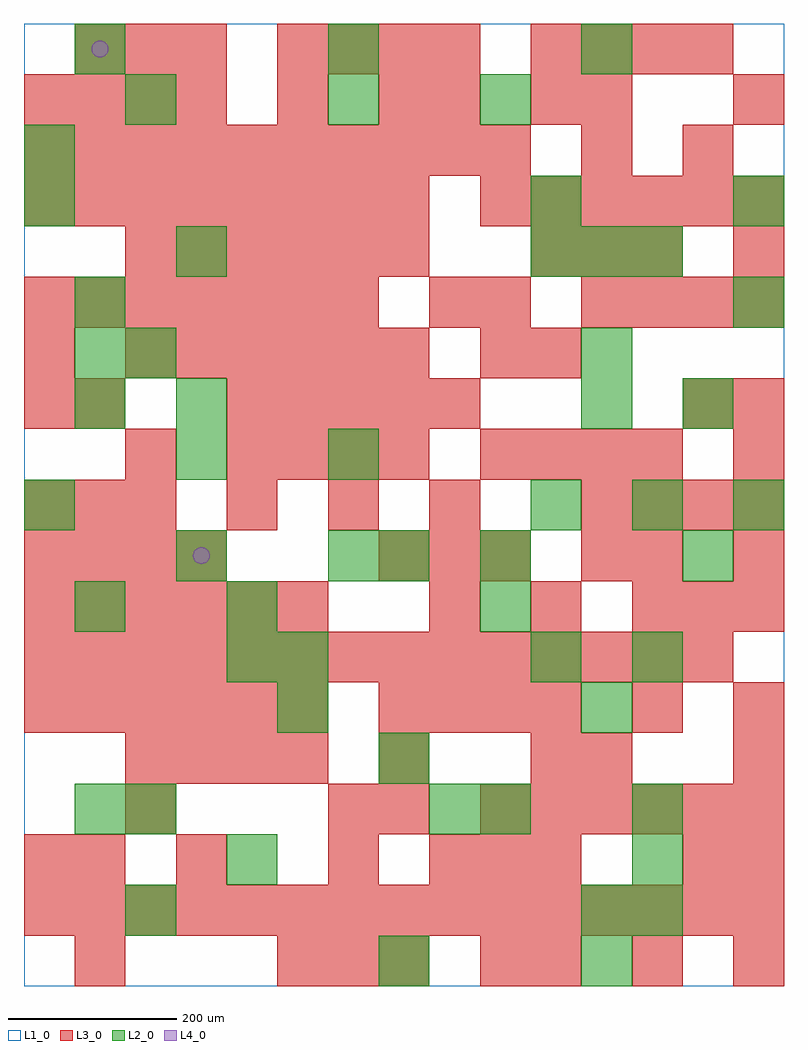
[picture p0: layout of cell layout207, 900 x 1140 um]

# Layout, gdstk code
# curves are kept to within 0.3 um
import gdstk
lib = gdstk.Library(unit=1e-6, precision=1e-09)
def R(c, l, rs):  # rectangles x0, y0, x1, y1
    for r in rs: c.add(gdstk.rectangle(r[:2], r[2:], *l))
def A(c, l, x, y, w, h, nx, ny, dx, dy):  # array of equal rectangles
    R(c, l, [(x+i*dx, y+j*dy, x+i*dx+w, y+j*dy+h) for i in range(nx) for j in range(ny)])
def P(c, l, *ps):  # polygons
    for p in ps: c.add(gdstk.Polygon(p, *l))
L1_0 = (1, 0)
L2_0 = (2, 0)
L3_0 = (3, 0)
L4_0 = (4, 0)

layout207 = lib.new_cell('layout207')
R(layout207, L1_0, [(0,0,900,1140)])
A(layout207, L2_0, 420, 0, 60, 60, 1, 3, 0, 240)
A(layout207, L2_0, 720, 60, 60, 60, 1, 3, 0, 60)
A(layout207, L2_0, 60, 180, 60, 60, 1, 3, 0, 240)
A(layout207, L2_0, 600, 540, 60, 60, 3, 1, 120, 0)
A(layout207, L2_0, 600, 840, 60, 60, 3, 1, 60, 0)
A(layout207, L2_0, 60, 1080, 60, 60, 3, 1, 300, 0)
R(layout207, L2_0, [(660,0,720,60), (120,60,180,120), (660,60,720,120), (240,120,300,180), (120,180,180,240), (480,180,540,240), (540,180,600,240), (300,300,360,360), (660,300,720,360), (240,360,300,420), (300,360,360,420), (600,360,660,420), (720,360,780,420), (240,420,300,480), (540,420,600,480), (180,480,240,540), (360,480,420,540), (540,480,600,540), (780,480,840,540), (0,540,60,600), (180,600,240,660), (360,600,420,660), (180,660,240,720), (660,660,720,720), (780,660,840,720), (60,720,120,780), (120,720,180,780), (660,720,720,780), (60,780,120,840), (840,780,900,840), (180,840,240,900), (0,900,60,960), (600,900,660,960), (840,900,900,960), (0,960,60,1020), (120,1020,180,1080), (360,1020,420,1080), (540,1020,600,1080)])
A(layout207, L3_0, 300, 0, 60, 60, 3, 1, 60, 0)
A(layout207, L3_0, 600, 0, 60, 60, 3, 1, 120, 0)
A(layout207, L3_0, 0, 60, 60, 60, 15, 1, 60, 0)
A(layout207, L3_0, 480, 120, 60, 60, 3, 1, 60, 0)
A(layout207, L3_0, 540, 180, 60, 60, 6, 2, 60, 720)
A(layout207, L3_0, 120, 240, 60, 60, 4, 1, 60, 0)
A(layout207, L3_0, 0, 300, 60, 60, 6, 2, 60, 120)
A(layout207, L3_0, 420, 300, 60, 60, 4, 1, 60, 0)
A(layout207, L3_0, 0, 360, 60, 60, 14, 1, 60, 0)
A(layout207, L3_0, 480, 420, 60, 60, 3, 1, 120, 0)
A(layout207, L3_0, 0, 480, 60, 60, 4, 2, 60, 540)
A(layout207, L3_0, 420, 480, 60, 60, 3, 1, 60, 0)
A(layout207, L3_0, 0, 540, 60, 60, 3, 1, 60, 0)
A(layout207, L3_0, 240, 540, 60, 60, 3, 1, 120, 0)
A(layout207, L3_0, 660, 540, 60, 60, 4, 2, 60, 240)
A(layout207, L3_0, 240, 600, 60, 60, 4, 1, 60, 0)
A(layout207, L3_0, 540, 600, 60, 60, 4, 1, 60, 0)
A(layout207, L3_0, 240, 660, 60, 60, 5, 1, 60, 0)
A(layout207, L3_0, 840, 660, 60, 60, 1, 3, 0, 180)
A(layout207, L3_0, 120, 720, 60, 60, 6, 2, 60, 120)
A(layout207, L3_0, 0, 780, 60, 60, 7, 1, 60, 0)
A(layout207, L3_0, 600, 840, 60, 60, 3, 1, 60, 0)
A(layout207, L3_0, 0, 900, 60, 60, 8, 1, 60, 0)
A(layout207, L3_0, 0, 960, 60, 60, 10, 1, 60, 0)
A(layout207, L3_0, 60, 1080, 60, 60, 3, 1, 60, 0)
A(layout207, L3_0, 300, 1080, 60, 60, 4, 1, 60, 0)
A(layout207, L3_0, 600, 1080, 60, 60, 4, 1, 60, 0)
R(layout207, L3_0, [(60,0,120,60), (540,0,600,60), (0,120,60,180), (60,120,120,180), (180,120,240,180), (360,120,420,180), (780,120,840,180), (840,120,900,180), (120,180,180,240), (360,180,420,240), (420,180,480,240), (420,240,480,300), (600,240,660,300), (660,240,720,300), (840,240,900,300), (720,300,780,360), (840,300,900,360), (780,420,840,480), (840,420,900,480), (660,480,720,540), (720,480,780,540), (840,480,900,540), (120,600,180,660), (840,600,900,660), (0,660,60,720), (60,660,120,720), (780,660,840,720), (0,720,60,780), (540,720,600,780), (600,720,660,780), (480,780,540,840), (540,780,600,840), (660,960,720,1020), (780,960,840,1020), (300,1020,360,1080), (420,1020,480,1080), (480,1020,540,1080), (600,1020,660,1080), (660,1020,720,1080)])
P(layout207, L4_0, [(100,1110),(99.239,1113.827),(97.071,1117.071),(93.827,1119.239),(90,1120),(86.173,1119.239),(82.929,1117.071),(80.761,1113.827),(80,1110),(80.761,1106.173),(82.929,1102.929),(86.173,1100.761),(90,1100),(93.827,1100.761),(97.071,1102.929),(99.239,1106.173)],
  [(220,510),(219.239,513.827),(217.071,517.071),(213.827,519.239),(210,520),(206.173,519.239),(202.929,517.071),(200.761,513.827),(200,510),(200.761,506.173),(202.929,502.929),(206.173,500.761),(210,500),(213.827,500.761),(217.071,502.929),(219.239,506.173)])

lib.write_gds('layout207.gds')
